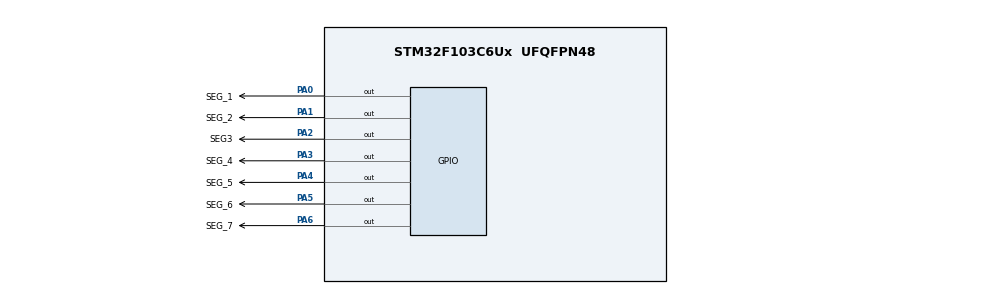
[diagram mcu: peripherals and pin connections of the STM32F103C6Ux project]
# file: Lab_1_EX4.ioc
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Mcu.Family=STM32F1
Mcu.Name=STM32F103C6Ux
Mcu.Package=UFQFPN48
NVIC.PriorityGroup=NVIC_PRIORITYGROUP_4
PA0-WKUP.GPIO_Label=SEG_1
PA0-WKUP.Signal=GPIO_Output
PA1.GPIO_Label=SEG_2
PA1.Signal=GPIO_Output
PA2.GPIO_Label=SEG3
PA2.Signal=GPIO_Output
PA3.GPIO_Label=SEG_4
PA3.Signal=GPIO_Output
PA4.GPIO_Label=SEG_5
PA4.Signal=GPIO_Output
PA5.GPIO_Label=SEG_6
PA5.Signal=GPIO_Output
PA6.GPIO_Label=SEG_7
PA6.Signal=GPIO_Output
ProjectManager.HeapSize=0x200
ProjectManager.StackSize=0x400
ProjectManager.TargetToolchain=STM32CubeIDE
RCC.APB1Freq_Value=8000000
RCC.APB2Freq_Value=8000000
VP_SYS_VS_ND.Mode=No_Debug
board=custom

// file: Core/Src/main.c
/* USER CODE BEGIN Header */
/**
  ******************************************************************************
  * @file           : main.c
  * @brief          : Main program body
  ******************************************************************************
  * @attention
  *
  * <h2><center>&copy; Copyright (c) 2026 STMicroelectronics.
  * All rights reserved.</center></h2>
  *
  * This software component is licensed by ST under BSD 3-Clause license,
  * the "License"; You may not use this file except in compliance with the
  * License. You may obtain a copy of the License at:
  *                        opensource.org/licenses/BSD-3-Clause
  *
  ******************************************************************************
  */
/* USER CODE END Header */
#include "main.h"

void SystemClock_Config(void);
static void MX_GPIO_Init(void);
/* USER CODE BEGIN PFP */
void display7SEG(int num);
/* USER CODE END PFP */

int main(void)
{

  /* MCU Configuration--------------------------------------------------------*/

  /* Reset of all peripherals, Initializes the Flash interface and the Systick. */
  HAL_Init();

  /* Configure the system clock */
  SystemClock_Config();

  /* Initialize all configured peripherals */
  MX_GPIO_Init();

  /* Infinite loop */
  /* USER CODE BEGIN WHILE */
  int counter = 0;
  while (1)
  {
	    if (counter >= 10) counter = 0;
	    display7SEG(counter++);
	    HAL_Delay(1000);
    /* USER CODE END WHILE */

  }
}

void SystemClock_Config(void)
{
  RCC_OscInitTypeDef RCC_OscInitStruct = {0};
  RCC_ClkInitTypeDef RCC_ClkInitStruct = {0};

  /** Initializes the RCC Oscillators according to the specified parameters
  * in the RCC_OscInitTypeDef structure.
  */
  RCC_OscInitStruct.OscillatorType = RCC_OSCILLATORTYPE_HSI;
  RCC_OscInitStruct.HSIState = RCC_HSI_ON;
  RCC_OscInitStruct.HSICalibrationValue = RCC_HSICALIBRATION_DEFAULT;
  RCC_OscInitStruct.PLL.PLLState = RCC_PLL_NONE;
  if (HAL_RCC_OscConfig(&RCC_OscInitStruct) != HAL_OK)
  {
    Error_Handler();
  }
  /** Initializes the CPU, AHB and APB buses clocks
  */
  RCC_ClkInitStruct.ClockType = RCC_CLOCKTYPE_HCLK|RCC_CLOCKTYPE_SYSCLK
                              |RCC_CLOCKTYPE_PCLK1|RCC_CLOCKTYPE_PCLK2;
  RCC_ClkInitStruct.SYSCLKSource = RCC_SYSCLKSOURCE_HSI;
  RCC_ClkInitStruct.AHBCLKDivider = RCC_SYSCLK_DIV1;
  RCC_ClkInitStruct.APB1CLKDivider = RCC_HCLK_DIV1;
  RCC_ClkInitStruct.APB2CLKDivider = RCC_HCLK_DIV1;

  if (HAL_RCC_ClockConfig(&RCC_ClkInitStruct, FLASH_LATENCY_0) != HAL_OK)
  {
    Error_Handler();
  }
}

static void MX_GPIO_Init(void)
{
  GPIO_InitTypeDef GPIO_InitStruct = {0};

  /* GPIO Ports Clock Enable */
  __HAL_RCC_GPIOA_CLK_ENABLE();

  /*Configure GPIO pin Output Level */
  HAL_GPIO_WritePin(GPIOA, SEG_1_Pin|SEG_2_Pin|SEG3_Pin|SEG_4_Pin
                          |SEG_5_Pin|SEG_6_Pin|SEG_7_Pin, GPIO_PIN_RESET);

  /*Configure GPIO pins : SEG_1_Pin SEG_2_Pin SEG3_Pin SEG_4_Pin
                           SEG_5_Pin SEG_6_Pin SEG_7_Pin */
  GPIO_InitStruct.Pin = SEG_1_Pin|SEG_2_Pin|SEG3_Pin|SEG_4_Pin
                          |SEG_5_Pin|SEG_6_Pin|SEG_7_Pin;
  GPIO_InitStruct.Mode = GPIO_MODE_OUTPUT_PP;
  GPIO_InitStruct.Pull = GPIO_NOPULL;
  GPIO_InitStruct.Speed = GPIO_SPEED_FREQ_LOW;
  HAL_GPIO_Init(GPIOA, &GPIO_InitStruct);

}

/* USER CODE BEGIN 4 */
void display7SEG(int num) {
    // bit0=a, bit1=b, bit2=c, bit3=d, bit4=e, bit5=f, bit6=g
    // common anode: bit=1 -> segment OFF, bit=0 -> segment ON
    const uint8_t segment_table[10] = {
        0b1000000, // 0
        0b1111001, // 1
        0b0100100, // 2
        0b0110000, // 3
        0b0011001, // 4
        0b0010010, // 5
        0b0000010, // 6
        0b1111000, // 7
        0b0000000, // 8
        0b0010000  // 9
    };

    uint8_t pattern = segment_table[num];

    HAL_GPIO_WritePin(SEG_1_GPIO_Port, SEG_1_Pin, (pattern & 0x01) ? GPIO_PIN_SET : GPIO_PIN_RESET); // a
    HAL_GPIO_WritePin(SEG_2_GPIO_Port, SEG_2_Pin, (pattern & 0x02) ? GPIO_PIN_SET : GPIO_PIN_RESET); // b
    HAL_GPIO_WritePin(SEG3_GPIO_Port,  SEG3_Pin,  (pattern & 0x04) ? GPIO_PIN_SET : GPIO_PIN_RESET); // c
    HAL_GPIO_WritePin(SEG_4_GPIO_Port, SEG_4_Pin, (pattern & 0x08) ? GPIO_PIN_SET : GPIO_PIN_RESET); // d
    HAL_GPIO_WritePin(SEG_5_GPIO_Port, SEG_5_Pin, (pattern & 0x10) ? GPIO_PIN_SET : GPIO_PIN_RESET); // e
    HAL_GPIO_WritePin(SEG_6_GPIO_Port, SEG_6_Pin, (pattern & 0x20) ? GPIO_PIN_SET : GPIO_PIN_RESET); // f
    HAL_GPIO_WritePin(SEG_7_GPIO_Port, SEG_7_Pin, (pattern & 0x40) ? GPIO_PIN_SET : GPIO_PIN_RESET); // g
}
/* USER CODE END 4 */

void Error_Handler(void)
{
  __disable_irq();
  while (1)
  {
  }
}

/************************ (C) COPYRIGHT STMicroelectronics *****END OF FILE****/
